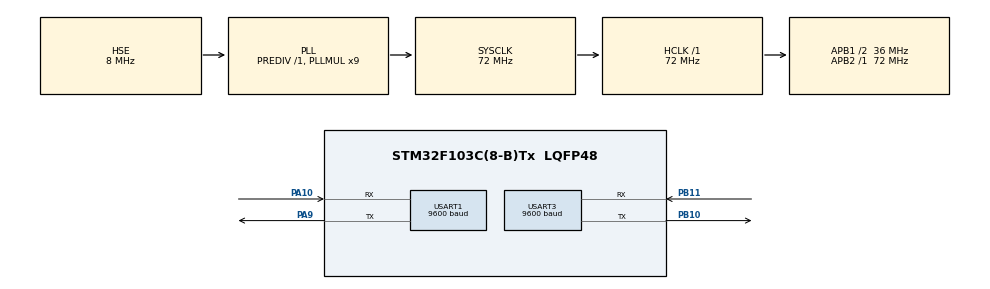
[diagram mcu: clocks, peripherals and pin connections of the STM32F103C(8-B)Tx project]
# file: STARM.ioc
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Dma.Request0=USART3_RX
Dma.USART3_RX.0.Direction=DMA_PERIPH_TO_MEMORY
Dma.USART3_RX.0.Instance=DMA1_Channel3
Dma.USART3_RX.0.MemDataAlignment=DMA_MDATAALIGN_BYTE
Dma.USART3_RX.0.MemInc=DMA_MINC_ENABLE
Dma.USART3_RX.0.Mode=DMA_NORMAL
Dma.USART3_RX.0.PeriphDataAlignment=DMA_PDATAALIGN_BYTE
Dma.USART3_RX.0.PeriphInc=DMA_PINC_DISABLE
Dma.USART3_RX.0.Priority=DMA_PRIORITY_MEDIUM
Mcu.Family=STM32F1
Mcu.Name=STM32F103C(8-B)Tx
Mcu.Package=LQFP48
NVIC.DMA1_Channel3_IRQn=true\:0\:0\:false\:false\:true\:false\:true\:true
NVIC.PriorityGroup=NVIC_PRIORITYGROUP_4
NVIC.USART1_IRQn=true\:0\:0\:false\:false\:true\:true\:true\:true
NVIC.USART3_IRQn=true\:0\:0\:false\:false\:true\:true\:true\:true
PA10.Mode=Asynchronous
PA10.Signal=USART1_RX
PA13.Mode=Serial_Wire
PA13.Signal=SYS_JTMS-SWDIO
PA14.Mode=Serial_Wire
PA14.Signal=SYS_JTCK-SWCLK
PA9.Mode=Asynchronous
PA9.Signal=USART1_TX
PB10.Mode=Asynchronous
PB10.Signal=USART3_TX
PB11.Mode=Asynchronous
PB11.Signal=USART3_RX
PD0-OSC_IN.Mode=HSE-External-Oscillator
PD0-OSC_IN.Signal=RCC_OSC_IN
PD1-OSC_OUT.Mode=HSE-External-Oscillator
PD1-OSC_OUT.Signal=RCC_OSC_OUT
ProjectManager.HeapSize=0x200
ProjectManager.StackSize=0x400
ProjectManager.TargetToolchain=CMake
RCC.AHBFreq_Value=72000000
RCC.APB1CLKDivider=RCC_HCLK_DIV2
RCC.APB1Freq_Value=36000000
RCC.APB1TimFreq_Value=72000000
RCC.APB2Freq_Value=72000000
RCC.APB2TimFreq_Value=72000000
RCC.HCLKFreq_Value=72000000
RCC.PLLMUL=RCC_PLL_MUL9
RCC.PLLSourceVirtual=RCC_PLLSOURCE_HSE
RCC.SYSCLKFreq_VALUE=72000000
RCC.SYSCLKSource=RCC_SYSCLKSOURCE_PLLCLK
RCC.USBFreq_Value=72000000
USART1.BaudRate=9600
USART1.VirtualMode=VM_ASYNC
USART3.BaudRate=9600
USART3.VirtualMode=VM_ASYNC
board=custom

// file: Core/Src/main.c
/* USER CODE BEGIN Header */
/**
 ******************************************************************************
 * @file           : main.c
 * @brief          : Main program body
 ******************************************************************************
 * @attention
 *
 * Copyright (c) 2026 STMicroelectronics.
 * All rights reserved.
 *
 * This software is licensed under terms that can be found in the LICENSE file
 * in the root directory of this software component.
 * If no LICENSE file comes with this software, it is provided AS-IS.
 *
 ******************************************************************************
 */
/* USER CODE END Header */
#include "main.h"
#include "dma.h"
#include "gpio.h"
#include "usart.h"

/* USER CODE BEGIN Includes */
#include "aht30_test.h"
#include "key.h"
#include "led.h"
#include "lora.h"
#include "mcp23017.h"
#include "motor.h"
#include "oled.h"
#include "rc522_test.h"
#include "scheduler.h"
#include "ultrasonic.h"
#include <stdio.h>

/* USER CODE END Includes */

void SystemClock_Config(void);

/* USER CODE BEGIN 0 */
#ifdef __GNUC__
#define PUTCHAR_PROTOTYPE int __io_putchar(int ch)
#else
#define PUTCHAR_PROTOTYPE int fputc(int ch, FILE *f)
#endif

PUTCHAR_PROTOTYPE {
  HAL_UART_Transmit(&huart1, (uint8_t *)&ch, 1, HAL_MAX_DELAY);
  return ch;
}
/* USER CODE END 0 */

int main(void) {

  /* MCU Configuration--------------------------------------------------------*/

  /* Reset of all peripherals, Initializes the Flash interface and the Systick.
   */
  HAL_Init();

  /* Configure the system clock */
  SystemClock_Config();

  /* Initialize all configured peripherals */
  MX_GPIO_Init();
  MX_DMA_Init();
  MX_USART3_UART_Init();
  MX_USART1_UART_Init();
  /* USER CODE BEGIN 2 */
  // led_init();
  // key_init();
  // OLED_Init();
  // mcp23017_init();
  // lora_init();

  // AHT30_Test_Init();
  // RC522_Test_Init();
  // buzzer_init();
  // OLED_ShowSTR(0,0,"STM32 LORA",8);
  // scheduler_init();

  motor_init();
  Ultrasonic_Init();
  GPIO_InitTypeDef gpio_initstruct;
  gpio_initstruct.Mode=GPIO_MODE_INPUT;
  gpio_initstruct.Pin=GPIO_PIN_9;
  gpio_initstruct.Pull=GPIO_NOPULL;
  gpio_initstruct.Speed=GPIO_SPEED_FREQ_LOW;
  HAL_GPIO_Init(GPIOB,&gpio_initstruct);

  // printf("\r\n--- Ultrasonic Test Start ---\r\n");

  /* USER CODE END 2 */

  /* Infinite loop */
  /* USER CODE BEGIN WHILE */
  while (1) {
    printf("%d\n",HAL_GPIO_ReadPin(GPIOB,GPIO_PIN_9));
    HAL_Delay(500);
    // float dis = Ultrasonic_GetDistance();
    // if (dis >= 0) {
    //   printf("Distance: %.2f cm\r\n", dis);
    // } else {
    //   printf("Waiting or Out of range...\r\n");
    // }
    // delay_ms(500); // 延时500ms，避免打印过快

    /* ============ 之前的电机测试代码暂时注释 ============ */
    // motor_front();
    // delay_ms(1000);
    // motor_stop();
    // delay_ms(1000);
    // motor_back();
    // delay_ms(1000);

    // lora_process();
    /* USER CODE END WHILE */

  }
}

void SystemClock_Config(void) {
  RCC_OscInitTypeDef RCC_OscInitStruct = {0};
  RCC_ClkInitTypeDef RCC_ClkInitStruct = {0};

  /** Initializes the RCC Oscillators according to the specified parameters
   * in the RCC_OscInitTypeDef structure.
   */
  RCC_OscInitStruct.OscillatorType = RCC_OSCILLATORTYPE_HSE;
  RCC_OscInitStruct.HSEState = RCC_HSE_ON;
  RCC_OscInitStruct.HSEPredivValue = RCC_HSE_PREDIV_DIV1;
  RCC_OscInitStruct.HSIState = RCC_HSI_ON;
  RCC_OscInitStruct.PLL.PLLState = RCC_PLL_ON;
  RCC_OscInitStruct.PLL.PLLSource = RCC_PLLSOURCE_HSE;
  RCC_OscInitStruct.PLL.PLLMUL = RCC_PLL_MUL9;
  if (HAL_RCC_OscConfig(&RCC_OscInitStruct) != HAL_OK) {
    Error_Handler();
  }

  /** Initializes the CPU, AHB and APB buses clocks
   */
  RCC_ClkInitStruct.ClockType = RCC_CLOCKTYPE_HCLK | RCC_CLOCKTYPE_SYSCLK |
                                RCC_CLOCKTYPE_PCLK1 | RCC_CLOCKTYPE_PCLK2;
  RCC_ClkInitStruct.SYSCLKSource = RCC_SYSCLKSOURCE_PLLCLK;
  RCC_ClkInitStruct.AHBCLKDivider = RCC_SYSCLK_DIV1;
  RCC_ClkInitStruct.APB1CLKDivider = RCC_HCLK_DIV2;
  RCC_ClkInitStruct.APB2CLKDivider = RCC_HCLK_DIV1;

  if (HAL_RCC_ClockConfig(&RCC_ClkInitStruct, FLASH_LATENCY_2) != HAL_OK) {
    Error_Handler();
  }
}

void Error_Handler(void) {
  __disable_irq();
  while (1) {
  }
}
#ifdef USE_FULL_ASSERT
/**
 * @brief  Reports the name of the source file and the source line number
 *         where the assert_param error has occurred.
 * @param  file: pointer to the source file name
 * @param  line: assert_param error line source number
 * @retval None
 */
void assert_failed(uint8_t *file, uint32_t line) {
  /* USER CODE BEGIN 6 */
  /* User can add his own implementation to report the file name and line
     number, ex: printf("Wrong parameters value: file %s on line %d\r\n", file,
     line) */
  /* USER CODE END 6 */
}
#endif /* USE_FULL_ASSERT */
